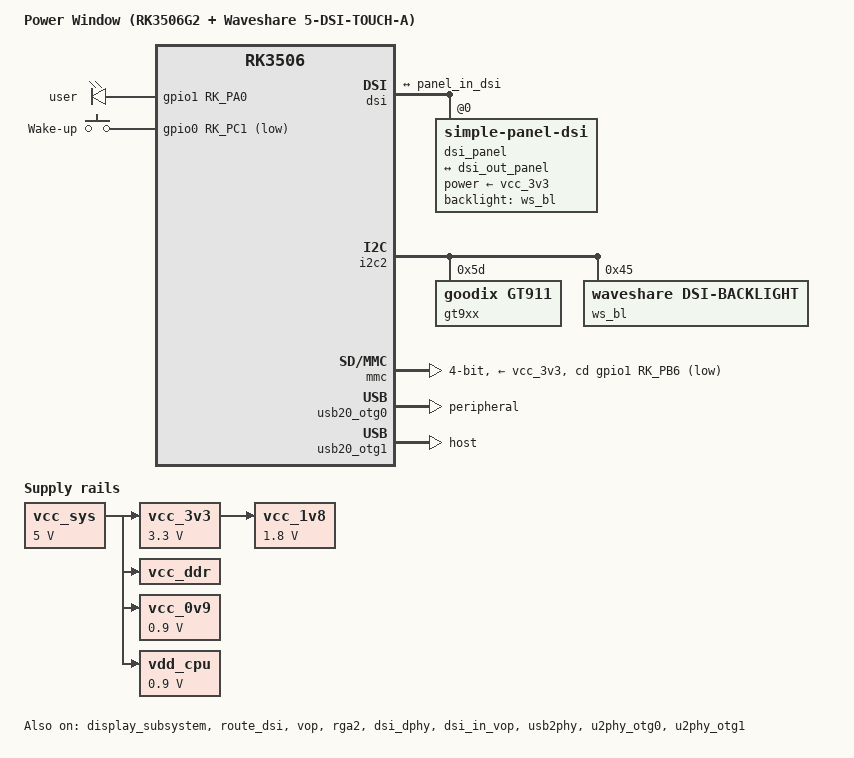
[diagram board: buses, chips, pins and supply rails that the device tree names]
/*
 * Common device tree for Power Window
 *
 * RK3506 SoC, 128 MB DDR3L, SD Card, USB Host (USB-A via HUB), USB-C (power + OTG)
 *
 * Derived from rk3506-luckfox-lyra.dtsi (https://github.com/0xd61/luckfox-linux-6.1-rk3506)
 */

#include "rk3506.dtsi"
#include <dt-bindings/input/rk-input.h>
#include <dt-bindings/suspend/rockchip-rk3506.h>
#include <dt-bindings/display/drm_mipi_dsi.h>
#include "rk3506-power-window-pinctrl.dtsi"

/ {
    model = "Power Window (RK3506G2 + Waveshare 5-DSI-TOUCH-A)";
    compatible = "power-window", "rockchip,rk3506";

    firmware {
        optee: optee {
            compatible = "linaro,optee-tz";
            method = "smc";
        };
    };

    leds {
        compatible = "gpios-leds";

        user_led: led-user {
            gpios = <&gpio1 RK_PA0 GPIO_ACTIVE_HIGH>;
            linux,default-trigger = "heartbeat";
            label = "user";
        };
    };

    gpio_keys: gpio-keys {
        compatible = "gpio-keys";
        pinctrl-0 = <&key_wake_up>;
        pinctrl-names = "default";

        wake_up: wake-up {
            label = "Wake-up";
            gpios = <&gpio0 RK_PC1 GPIO_ACTIVE_LOW>;
            linux,code = <KEY_WAKEUP>;
            wakeup-source;
        };
    };

    /* POWER RAILS */
    vcc_sys: vcc-sys {
        compatible = "regulator-fixed";
        regulator-name = "vcc_sys";
        regulator-always-on;
        regulator-boot-on;
        regulator-min-microvolt = <5000000>;
        regulator-max-microvolt = <5000000>;
    };
    vcc_3v3: vcc-3v3 {
        compatible = "regulator-fixed";
        regulator-name = "vcc_3v3";
        regulator-always-on;
        regulator-boot-on;
        regulator-min-microvolt = <3300000>;
        regulator-max-microvolt = <3300000>;
        vin-supply = <&vcc_sys>;
    };
    vcc_1v8: vcc-1v8 {
        compatible = "regulator-fixed";
        regulator-name = "vcc_1v8";
        regulator-always-on;
        regulator-boot-on;
        regulator-min-microvolt = <1800000>;
        regulator-max-microvolt = <1800000>;
        vin-supply = <&vcc_3v3>;
    };
    vcc_ddr: vcc-ddr { // 1V8
        compatible = "regulator-fixed";
        regulator-name = "vcc_ddr";
        regulator-always-on;
        regulator-boot-on;
        vin-supply = <&vcc_sys>;
    };
    vcc_0v9: vcc-0v9 {
        compatible = "regulator-fixed";
        regulator-name = "vcc_0v9";
        regulator-always-on;
        regulator-boot-on;
        regulator-min-microvolt = <900000>;
        regulator-max-microvolt = <900000>;
        vin-supply = <&vcc_sys>;
    };
    vdd_cpu: vdd-cpu {
        compatible = "regulator-fixed";
        regulator-name = "vdd_cpu";
        regulator-always-on;
        regulator-boot-on;
        regulator-min-microvolt = <900000>;
        regulator-max-microvolt = <900000>;
        vin-supply = <&vcc_sys>;
    };

    fiq_debugger: fiq-debugger {
        compatible = "rockchip,fiq-debugger";
        status = "okay";
        rockchip,serial-id = <0>;
        rockchip,wake-irq = <0>;
        rockchip,irq-mode-enable = <1>;
        rockchip,baudrate = <115200>;
        interrupts = <GIC_SPI 115 IRQ_TYPE_LEVEL_HIGH>;
    };
};

/* == CPU =================================================================== */
&cpu0 {
    cpu-supply = <&vdd_cpu>;
    status = "okay";
};

/* == DISPLAY =============================================================== */

&cma {
    size = <0x2000000>;
};

&display_subsystem {
        logo-memory-region = <&drm_logo>;
        status = "okay";
};

&route_dsi { status = "okay"; };
&vop { status = "okay"; };
&rga2 { status = "okay"; };

&dsi {
    status = "okay";
    rockchip,lane-rate = <850>;
    dsi_panel: panel@0 {
        status = "okay";
        compatible = "simple-panel-dsi";
        reg = <0>;
        bpc = <8>;
        prepare-delay-ms = <120>;
        reset-delay-ms = <120>;
        init-delay-ms = <120>;
        disable-delay-ms = <120>;
        unprepare-delay-ms = <120>;
        width-mm = <62>;
        height-mm = <110>;
        backlight = <&ws_bl>;

        dsi,flags = <(MIPI_DSI_MODE_VIDEO | MIPI_DSI_MODE_VIDEO_HSE | MIPI_DSI_MODE_LPM | MIPI_DSI_CLOCK_NON_CONTINUOUS)>;
        dsi,format = <MIPI_DSI_FMT_RGB888>;
        dsi,lanes  = <2>;
         panel-init-sequence = [
            39 00 04 B9 FF 83 94
            39 00 0B B1 48 0A 6A 09 33 54 71 71 2E 45
            39 00 07 BA 61 03 68 6B B2 C0
            39 00 07 B2 00 80 64 0C 06 2F
            39 00 16 B4 1C 78 1C 78 1C 78 01 0C 86
                 75 00 3F 1C 78 1C 78 1C 78 01
                 0C 86
            39 00 22 D3 00 00 00 00 00 00 08 08 32
                 10 05 00 05 32 13 C1 00 01 32
                 10 08 00 00 37 03 07 07 37 05
                 05 37 0C 40
            39 00 2D D5 18 18 18 18 22 23 20 21 04
                 05 06 07 00 01 02 03 18 18 18
                 18 18 18 18 18 18 18 18 18 18
                 18 18 18 18 18 18 18 18 18 18
                 18 19 19 19 19
            39 00 2D D6 18 18 19 19 21 20 23 22 03
                 02 01 00 07 06 05 04 18 18 18
                 18 18 18 18 18 18 18 18 18 18
                 18 18 18 18 18 18 18 18 18 18
                 18 19 19 18 18
            39 00 3B E0 07 08 09 0D 10 14 16 13 24
                 36 48 4A 58 6F 76 80 97 A5 A8
                 B5 C6 62 63 68 6F 72 78 7F 7F
                 00 02 08 0D 0C 0E 0F 10 24 36
                 48 4A 58 6F 78 82 99 A4 A0 B1
                 C0 5E 5E 64 6B 6C 73 7F 7F
            15 00 02 CC 0B
            39 00 03 C0 1F 73
            39 00 03 B6 6B 6B
            15 00 02 D4 02
            15 00 02 BD 01
            15 00 02 B1 00
            15 00 02 BD 00
            39 00 08 BF 40 81 50 00 1A FC 01
            15 00 02 36 00
            05 C8 01 11
            05 50 01 29
        ];

        disp_timings0: display-timings {
            native-mode = <&dsi_timing0>;
            dsi_timing0: timing0 {
                clock-frequency = <70000000>;
                hactive = <720>;
                vactive = <1280>;
                vsync-len = <10>;
                vback-porch = <4>;
                vfront-porch = <30>;
                hsync-len = <20>;
                hback-porch = <20>;
                hfront-porch = <40>;
                vsync-active = <0>;
                hsync-active = <0>;
                de-active = <0>;
                pixelclk-active = <0>;
            };
        };

        ports {
            #address-cells = <1>;
            #size-cells = <0>;

            port@0 {
                reg = <0>;
                panel_in_dsi: endpoint {
                    remote-endpoint = <&dsi_out_panel>;
                };
            };
        };
    };

    ports {
        #address-cells = <1>;
        #size-cells = <0>;

        port@1 {
            reg = <1>;
            dsi_out_panel: endpoint {
                remote-endpoint = <&panel_in_dsi>;
            };
        };
    };
};

&dsi_dphy { status = "okay"; };
&dsi_in_vop { status = "okay"; };
&dsi_panel { power-supply = <&vcc_3v3>; };

/* == TOUCH ================================================================= */

&i2c2 {
    status = "okay";
    pinctrl-names = "default";
    pinctrl-0 = <&rm_io1_i2c2_scl &rm_io0_i2c2_sda>;

    gt9xx: gt9xx@5d {
        status = "okay";
        compatible = "goodix,gt911";
        reg = <0x5d>;
        touchscreen-size-x = <720>;
        touchscreen-size-y = <1280>;
        touchscreen-inverted-x;
        touchscreen-inverted-y;
    };

    ws_bl: ws-bl@45 {
        status = "okay";
        compatible = "waveshare,dsi-backlight";
        reg = <0x45>;
        default-brightness-level = <200>;
        max-brightness-level = <255>;
        min-brightness-level = <5>;
    };
};

/* == MEDIA ================================================================= */

&mmc {
    /* for SDMMC */
    status = "okay";
    max-frequency = <52000000>;
    bus-width = <4>;
    no-sdio;
    no-mmc;
    cap-mmc-highspeed;
    cap-sd-highspeed;
    cd-gpios = <&gpio1 RK_PB6 GPIO_ACTIVE_LOW>; // det
    disable-wp;
    pinctrl-0 = <&sdmmc_clk_pins &sdmmc_cmd_pins &sdmmc_bus4_pins &sdmmc_det &sdmmc_pwren>;
    pinctrl-names = "default";
    vqmmc-supply = <&vcc_3v3>;
    vmmc-supply = <&vcc_3v3>;
};

/* == USB =================================================================== */

&usb20_otg0 {
    dr_mode = "peripheral";
    status = "okay";
};

&usb20_otg1 {
    dr_mode = "host";
    status = "okay";
};

&usb2phy { status = "okay"; };
&u2phy_otg0 { status = "okay"; };
&u2phy_otg1 { status = "okay"; };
